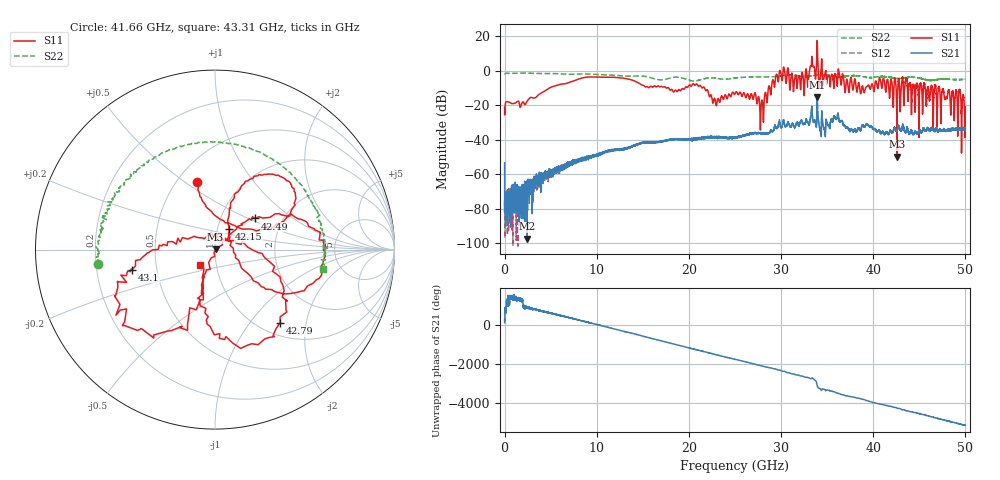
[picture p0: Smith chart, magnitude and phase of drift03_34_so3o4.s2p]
!Created with skrf (http://scikit-rf.org).
# Hz S RI R 50.0
!freq ReS11 ImS11 ReS21 ImS21 ReS12 ImS12 ReS22 ImS22
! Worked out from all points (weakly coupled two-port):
!   10001 points, 300 kHz to 50 GHz, reference 50 ohm
!   highest |S21| = -15.42 dB at 33.92 GHz (marker M1); lowest = -97.5 dB at 2.425 GHz (marker M2)
!   lowest |S11| = -49.9 dB at 42.58 GHz (marker M3), VSWR 1.01, Z = 50.3 + j0.13 ohm
!   |S11| at or under -10 dB: start of sweep to 4.85 GHz; 21.69 GHz to 28.62 GHz (6.934 GHz wide, 27.6 % of centre); 47.19 GHz to end of sweep (the widest 3 of 45)
!   |S22| runs from -5.9 to -1.3 dB; largest |S21 - S12| = 0.021
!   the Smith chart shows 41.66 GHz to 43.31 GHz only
!   S11 on the Smith chart (normalised r, x): 41.66 GHz: 0.63, +0.56; 42.15 GHz: 1.13, +0.27; 42.49 GHz: 1.45, +0.55; 42.79 GHz: 1.23, -1.43; 43.1 GHz: 0.36, -0.10; 43.31 GHz: 0.83, -0.15
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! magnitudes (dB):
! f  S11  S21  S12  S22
! 300 kHz  -21.4  -53.4  -78.3  -2.1
! 255.3 MHz  -17.9  -70.6  -76.8  -1.4
! 2.425 GHz  -17.7  -97.5  -68.9  -1.4
! 8.335 GHz  -4.3  -50.9  -51.7  -1.9
! 16.67 GHz  -8.8  -41.4  -41.2  -5.2
! 21.01 GHz  -8.7  -39.2  -39.4  -5.6
! 22.81 GHz  -16.1  -38.4  -38.4  -4.3
! 25 GHz  -13.4  -38.8  -38.8  -4.3
! 27.92 GHz  -17.1  -36.4  -36.4  -3.5
! 29.69 GHz  -6.4  -32.0  -31.7  -3.1
! 32.32 GHz  -1.5  -30.5  -30.6  -3.2
! 33.34 GHz  7.9  -20.6  -20.9  -2.9
! 33.92 GHz  17.6  -15.4  -15.6  -2.5
! 41.66 GHz  -8.2  -36.9  -36.9  -3.7
! 41.67 GHz  -9.0  -36.8  -36.6  -3.7
! 42.15 GHz  -17.1  -35.6  -35.4  -4.1
! 42.49 GHz  -11.0  -34.9  -35.0  -4.4
! 42.58 GHz  -49.9  -34.9  -34.8  -4.5
! 42.79 GHz  -5.3  -32.0  -32.3  -4.5
! 43.1 GHz  -6.5  -34.1  -33.8  -4.4
! 43.31 GHz  -18.3  -33.2  -33.3  -4.3
! 50 GHz  -21.0  -33.8  -33.6  -5.0
